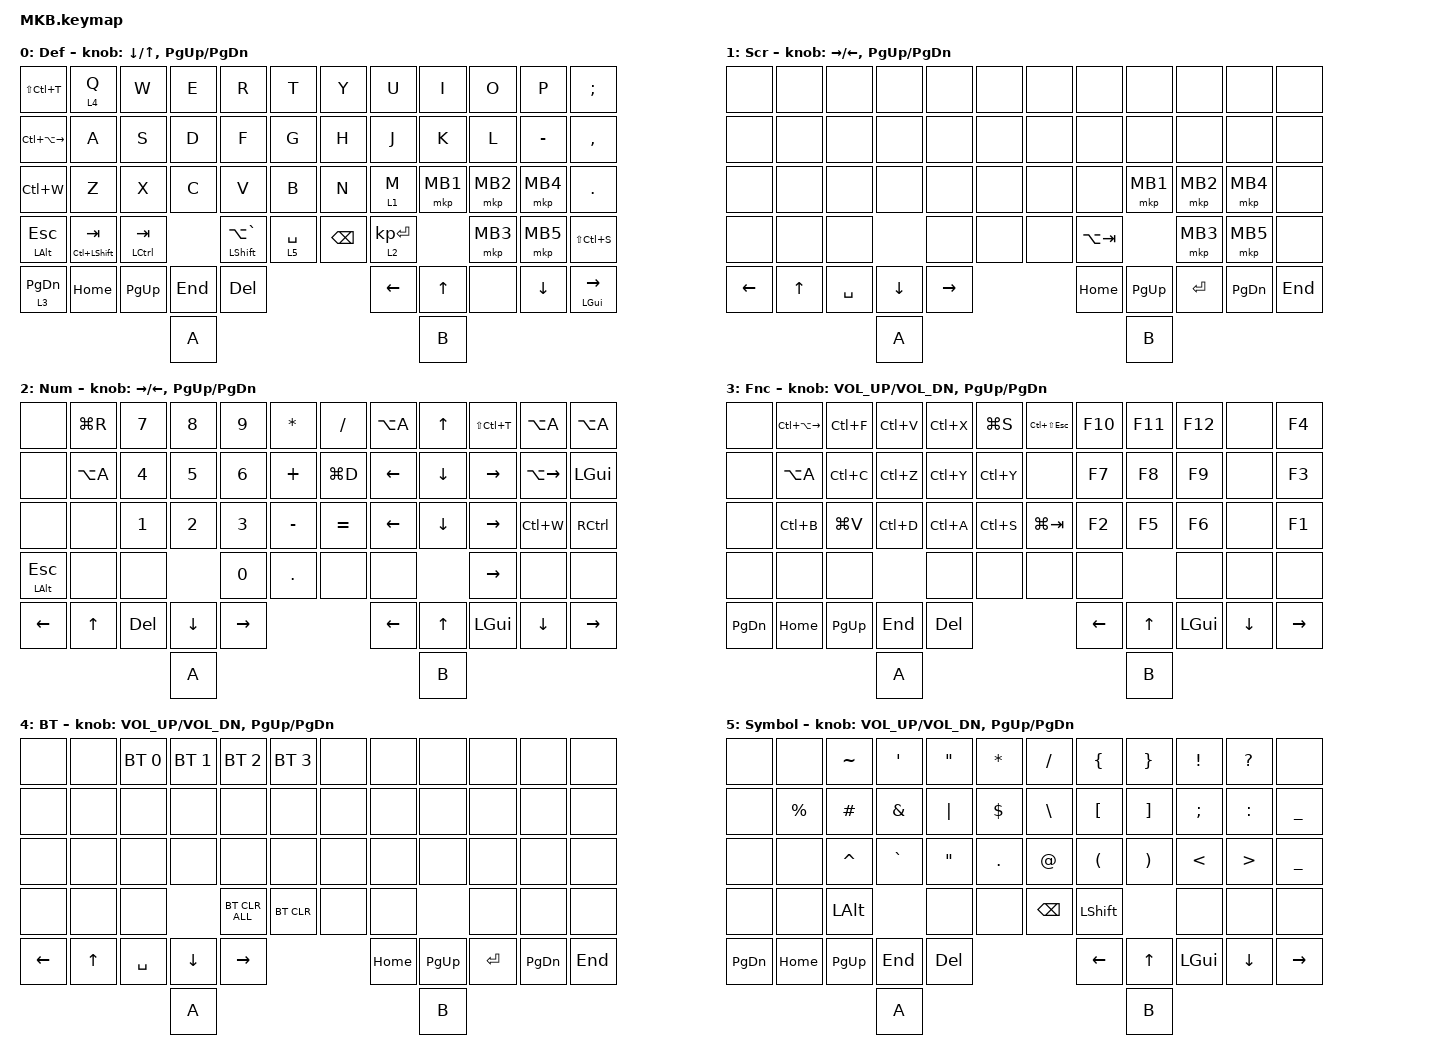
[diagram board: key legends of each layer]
// #include <layout_shift.dtsi>

#include <layout_shift_kp_override.dtsi>
#include <behaviors.dtsi>
#include <dt-bindings/zmk/bt.h>
#include <dt-bindings/zmk/keys.h>
#include <dt-bindings/zmk/pointing.h>

#define DEF 0
#define MSCROLL 1
#define MOUSE 2
#define FUNC 3
#define BT 4
#define SYMBOL 5

&mt {
    flavor = "balanced";
    tapping-term-ms = <200>;
    quick-tap-ms = <175>;
    require-prior-idle-ms = <150>;
};

/ {
    keymap {
        compatible = "zmk,keymap";

        default_layer {
            label = "Def";
            bindings = <
&kp LS(LC(T))      &lt 4 Q                 &kp W                 &kp E    &kp R                 &kp T            &kp Y          &kp U           &kp I     &kp O     &kp P      &kp SEMI
&kp LC(LA(RIGHT))  &kp A                   &kp S                 &kp D    &kp F                 &kp G            &kp H          &kp J           &kp K     &kp L     &kp MINUS  &kp COMMA
&kp LC(W)          &kp Z                   &kp X                 &kp C    &kp V                 &kp B            &kp N          &lt 1 M         &mkp MB1  &mkp MB2  &mkp MB4   &kp DOT
&mt LEFT_ALT ESC   &mt LC(LEFT_SHIFT) TAB  &mt LEFT_CONTROL TAB           &mt LSHIFT LA(GRAVE)  &lt 5 SPACE      &kp BACKSPACE  &lt 2 KP_ENTER            &mkp MB3  &mkp MB5   &kp LS(LC(S))
&lt 3 PG_DN        &kp HOME                &kp PG_UP             &kp END  &kp DEL                                               &kp LEFT        &kp UP    &none     &kp DOWN   &mt LEFT_GUI RIGHT_ARROW
                                                                 &kp A                                                                          &kp B
            >;

            sensor-bindings =
                <&inc_dec_kp DOWN_ARROW UP_ARROW>,
                <&inc_dec_kp PG_UP PG_DN>;
        };

        mousescroll_layer {
            label = "Scr";
            bindings = <
&none     &none   &none      &none     &none      &none      &none  &none        &none      &none      &none      &none
&none     &none   &none      &none     &none      &none      &none  &none        &none      &none      &none      &none
&none     &none   &none      &none     &none      &none      &none  &none        &mkp MB1   &mkp MB2   &mkp MB4   &none
&none     &none   &none                &none      &none      &none  &kp LA(TAB)             &mkp MB3   &mkp MB5   &none
&kp LEFT  &kp UP  &kp SPACE  &kp DOWN  &kp RIGHT                    &kp HOME     &kp PG_UP  &kp ENTER  &kp PG_DN  &kp END
                             &kp A                                               &kp B
            >;

            sensor-bindings =
                <&inc_dec_kp RIGHT_ARROW LEFT_ARROW>,
                <&inc_dec_kp PG_UP PG_DN>;
        };

        Num_Layer {
            label = "Num";
            bindings = <
&none             &kp LG(R)  &kp N7   &kp N8    &kp N9     &kp STAR       &kp SLASH  &kp LA(A)  &kp UP    &kp LS(LC(T))  &kp LA(A)      &kp LA(A)
&none             &kp LA(A)  &kp N4   &kp N5    &kp N6     &kp PLUS       &kp LG(D)  &kp LEFT   &kp DOWN  &kp RIGHT      &kp LA(RIGHT)  &kp LEFT_GUI
&none             &none      &kp N1   &kp N2    &kp N3     &kp MINUS      &kp EQUAL  &kp LEFT   &kp DOWN  &kp RIGHT      &kp LC(W)      &kp RCTRL
&mt LEFT_ALT ESC  &none      &none              &kp N0     &kp DOT        &none      &none                &kp RIGHT      &none          &none
&kp LEFT          &kp UP     &kp DEL  &kp DOWN  &kp RIGHT                            &kp LEFT   &kp UP    &kp LEFT_GUI   &kp DOWN       &kp RIGHT
                                      &kp A                                                     &kp B
            >;

            sensor-bindings =
                <&inc_dec_kp RIGHT_ARROW LEFT_ARROW>,
                <&inc_dec_kp PG_UP PG_DN>;
        };

        function_layer {
            label = "Fnc";
            bindings = <
&none      &kp LC(LA(RIGHT_ARROW))  &kp LC(F)  &kp LC(V)  &kp LC(X)   &kp LG(S)      &kp LC(LS(ESCAPE))  &kp F10   &kp F11  &kp F12       &none     &kp F4
&none      &kp LA(A)                &kp LC(C)  &kp LC(Z)  &kp LC(Y)   &kp LC(Y)      &none               &kp F7    &kp F8   &kp F9        &none     &kp F3
&none      &kp LC(B)                &kp LG(V)  &kp LC(D)  &kp LC(A)   &kp LC(S)      &kp LG(TAB)         &kp F2    &kp F5   &kp F6        &none     &kp F1
&none      &none                    &none                 &none       &none          &none               &none              &none         &none     &none
&kp PG_DN  &kp HOME                 &kp PG_UP  &kp END    &kp DELETE                                     &kp LEFT  &kp UP   &kp LEFT_GUI  &kp DOWN  &kp RIGHT
                                               &kp A                                                               &kp B
            >;

            sensor-bindings = <&inc_dec_kp C_VOL_UP C_VOL_DN &inc_dec_kp PG_UP PG_DN>;
        };

        bt_layer {
            label = "BT";
            bindings = <
&none     &none   &bt BT_SEL 0  &bt BT_SEL 1  &bt BT_SEL 2    &bt BT_SEL 3      &none  &none     &none      &none      &none      &none
&none     &none   &none         &none         &none           &none             &none  &none     &none      &none      &none      &none
&none     &none   &none         &none         &none           &none             &none  &none     &none      &none      &none      &none
&none     &none   &none                       &bt BT_CLR_ALL  &bt BT_CLR        &none  &none                &none      &none      &none
&kp LEFT  &kp UP  &kp SPACE     &kp DOWN      &kp RIGHT                                &kp HOME  &kp PG_UP  &kp ENTER  &kp PG_DN  &kp END
                                &kp A                                                            &kp B
            >;

            sensor-bindings = <&inc_dec_kp C_VOL_UP C_VOL_DN &inc_dec_kp PG_UP PG_DN>;
        };

        symbol_layer {
            label = "Symbol";
            bindings = <
&none      &none      &kp TILDE     &kp SQT    &kp DQT   &kp STAR      &kp SLASH      &kp LBRC        &kp RBRC  &kp EXCL      &kp QMARK  &none
&none      &kp PRCNT  &kp HASH      &kp AMPS   &kp PIPE  &kp DLLR      &kp BACKSLASH  &kp LBKT        &kp RBKT  &kp SEMI      &kp COLON  &kp UNDER
&none      &none      &kp CARET     &kp GRAVE  &kp DQT   &kp DOT       &kp AT         &kp LPAR        &kp RPAR  &kp LT        &kp GT     &kp UNDER
&none      &none      &kp LEFT_ALT             &none     &none         &kp BACKSPACE  &kp LEFT_SHIFT            &none         &none      &none
&kp PG_DN  &kp HOME   &kp PG_UP     &kp END    &kp DEL                                &kp LEFT        &kp UP    &kp LEFT_GUI  &kp DOWN   &kp RIGHT
                                    &kp A                                                             &kp B
            >;

            sensor-bindings = <&inc_dec_kp C_VOL_UP C_VOL_DN &inc_dec_kp PG_UP PG_DN>;
        };
    };
};
